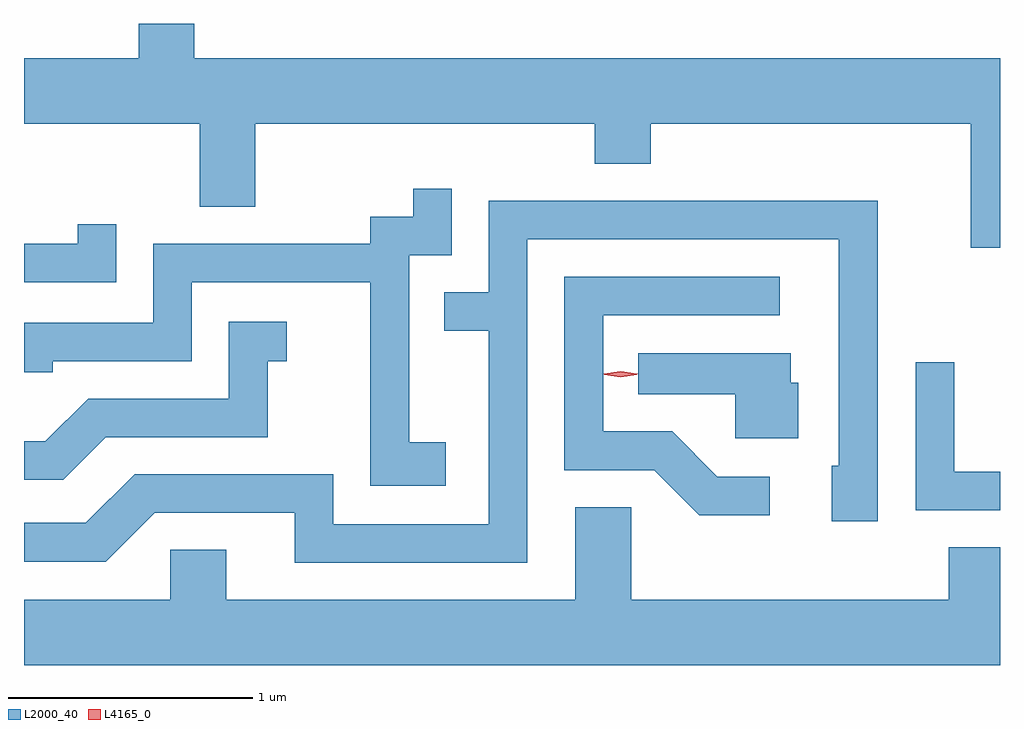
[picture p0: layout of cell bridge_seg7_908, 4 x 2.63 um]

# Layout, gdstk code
import gdstk
lib = gdstk.Library(unit=1e-6, precision=1e-09)
def P(c, l, *ps):  # polygons
    for p in ps: c.add(gdstk.Polygon(p, *l))
L2000_40 = (2000, 40)
L4165_0 = (4165, 0)

bridge_seg7_908 = lib.new_cell('bridge_seg7_908')
P(bridge_seg7_908, L2000_40, [(607.441,1696.824),(604.139,1696.824),(604.139,1696.965),(603.911,1696.965),(603.911,1696.824),(603.441,1696.824),(603.441,1696.556),(604.161,1696.556),(604.161,1696.216),(604.389,1696.216),(604.389,1696.556),(605.781,1696.556),(605.781,1696.391),(606.009,1696.391),(606.009,1696.556),(607.321,1696.556),(607.321,1696.046),(607.441,1696.046)],
  [(605.169,1695.249),(605.019,1695.249),(605.019,1696.016),(605.194,1696.016),(605.194,1696.288),(605.036,1696.288),(605.036,1696.174),(604.861,1696.174),(604.861,1696.064),(603.971,1696.064),(603.971,1695.739),(603.441,1695.739),(603.441,1695.536),(603.559,1695.536),(603.559,1695.581),(604.129,1695.581),(604.129,1695.906),(604.861,1695.906),(604.861,1695.071),(605.169,1695.071)],
  [(605.504,1696.081),(606.781,1696.081),(606.781,1695.154),(606.751,1695.154),(606.751,1694.926),(606.939,1694.926),(606.939,1696.239),(605.346,1696.239),(605.346,1695.864),(605.163,1695.864),(605.163,1695.706),(605.346,1695.706),(605.346,1694.914),(604.709,1694.914),(604.709,1695.119),(603.894,1695.119),(603.694,1694.919),(603.441,1694.919),(603.441,1694.761),(603.777,1694.761),(603.977,1694.961),(604.551,1694.961),(604.551,1694.756),(605.504,1694.756)],
  [(603.819,1696.143),(603.661,1696.143),(603.661,1696.064),(603.441,1696.064),(603.441,1695.906),(603.819,1695.906)],
  [(606.498,1695.109),(606.282,1695.109),(606.097,1695.294),(605.814,1695.294),(605.814,1695.771),(606.538,1695.771),(606.538,1695.929),(605.656,1695.929),(605.656,1695.136),(606.024,1695.136),(606.209,1694.951),(606.498,1694.951)],
  [(603.777,1695.271),(604.439,1695.271),(604.439,1695.581),(604.518,1695.581),(604.518,1695.744),(604.281,1695.744),(604.281,1695.429),(603.704,1695.429),(603.529,1695.254),(603.441,1695.254),(603.441,1695.096),(603.602,1695.096)],
  [(606.614,1695.494),(606.584,1695.494),(606.584,1695.614),(605.958,1695.614),(605.958,1695.446),(606.356,1695.446),(606.356,1695.266),(606.614,1695.266)],
  [(607.441,1695.129),(607.254,1695.129),(607.254,1695.578),(607.096,1695.578),(607.096,1694.971),(607.441,1694.971)],
  [(607.441,1694.819),(607.231,1694.819),(607.231,1694.604),(605.929,1694.604),(605.929,1694.984),(605.701,1694.984),(605.701,1694.604),(604.269,1694.604),(604.269,1694.809),(604.041,1694.809),(604.041,1694.604),(603.441,1694.604),(603.441,1694.336),(607.441,1694.336)])
P(bridge_seg7_908, L4165_0, [(605.886,1695.517),(605.82,1695.527),(605.819,1695.527),(605.82,1695.528),(605.886,1695.537),(605.952,1695.528),(605.953,1695.527),(605.952,1695.527)],
  [(605.886,1695.52),(605.817,1695.53),(605.817,1695.53),(605.817,1695.53),(605.886,1695.54),(605.955,1695.53),(605.956,1695.53),(605.955,1695.53)])

lib.write_gds('bridge_seg7_908.gds')
